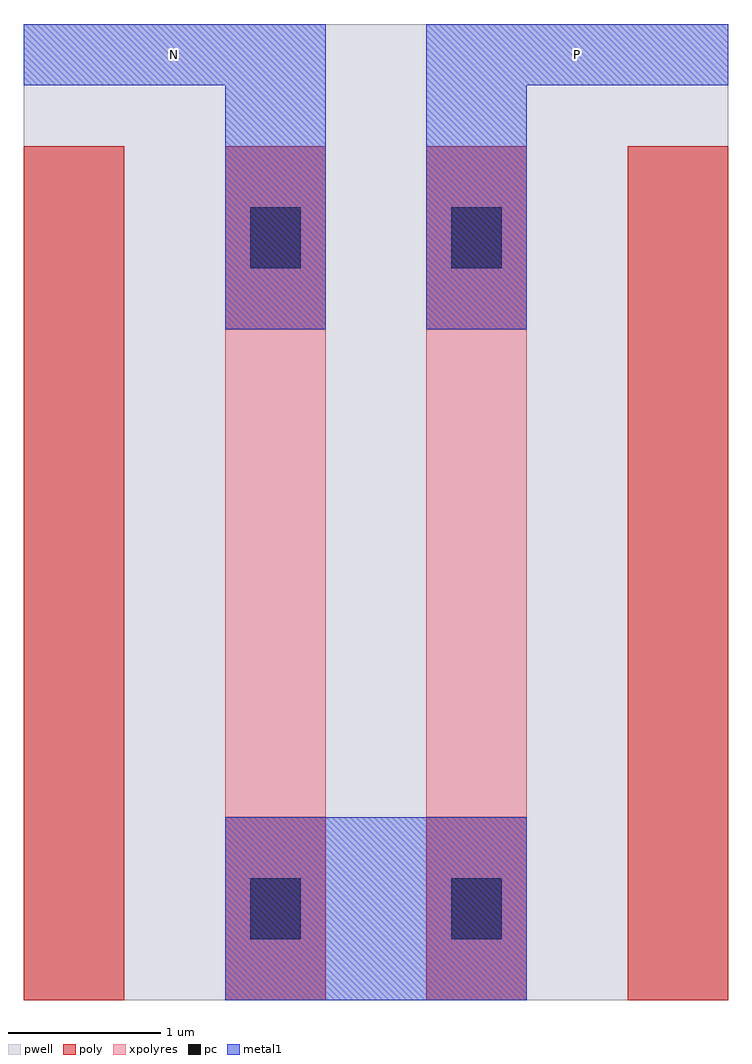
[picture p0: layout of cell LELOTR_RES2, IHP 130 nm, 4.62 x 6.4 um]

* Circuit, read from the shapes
.subckt LELOTR_RES2 N P
XR1 N n1 xpolyres w=0.66u l=3.2u
XR2 P n1 xpolyres w=0.66u l=3.2u
.ends

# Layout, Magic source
magic
tech ihp-sg13g2
magscale 1 2
<< poly >>
rect 198 -40 330 40
rect 462 -40 594 40
rect 198 40 330 120
rect 462 40 594 120
rect 198 120 330 200
rect 462 120 594 200
rect 198 840 330 920
rect 462 840 594 920
rect 198 920 330 1000
rect 462 920 594 1000
rect 198 1000 330 1080
rect 462 1000 594 1080
rect -66 -40 66 40
rect 726 -40 858 40
rect -66 40 66 120
rect 726 40 858 120
rect -66 120 66 200
rect 726 120 858 200
rect -66 200 66 280
rect 726 200 858 280
rect -66 280 66 360
rect 726 280 858 360
rect -66 360 66 440
rect 726 360 858 440
rect -66 440 66 520
rect 726 440 858 520
rect -66 520 66 600
rect 726 520 858 600
rect -66 600 66 680
rect 726 600 858 680
rect -66 680 66 760
rect 726 680 858 760
rect -66 760 66 840
rect 726 760 858 840
rect -66 840 66 920
rect 726 840 858 920
rect -66 920 66 1000
rect 726 920 858 1000
rect -66 1000 66 1080
rect 726 1000 858 1080
<< xpolyres >>
rect 198 200 330 280
rect 462 200 594 280
rect 198 280 330 360
rect 462 280 594 360
rect 198 360 330 440
rect 462 360 594 440
rect 198 440 330 520
rect 462 440 594 520
rect 198 520 330 600
rect 462 520 594 600
rect 198 600 330 680
rect 462 600 594 680
rect 198 680 330 760
rect 462 680 594 760
rect 198 760 330 840
rect 462 760 594 840
<< pc >>
rect 231 40 297 80
rect 231 80 297 120
rect 495 40 561 80
rect 495 80 561 120
rect 231 920 297 960
rect 231 960 297 1000
rect 495 920 561 960
rect 495 960 561 1000
<< metal1 >>
rect 198 -40 594 40
rect 198 40 594 120
rect 198 120 594 200
rect 198 840 330 920
rect 462 840 594 920
rect 198 920 330 1000
rect 462 920 594 1000
rect 198 1000 330 1080
rect 462 1000 594 1080
rect 198 1080 330 1160
rect 462 1080 594 1160
rect -66 1160 330 1240
rect -66 1160 330 1240
rect 462 1160 858 1240
rect 462 1160 858 1240
<< pwell >>
rect -66 -40 858 1240
<< labels >>
flabel metal1 s -66 1160 330 1240 0 FreeSans 400 0 0 0 N
port 1 nsew signal bidirectional
flabel metal1 s 462 1160 858 1240 0 FreeSans 400 0 0 0 P
port 2 nsew signal bidirectional
<< properties >>
string FIXED_BBOX 0 0 792 1200
<< end >>
